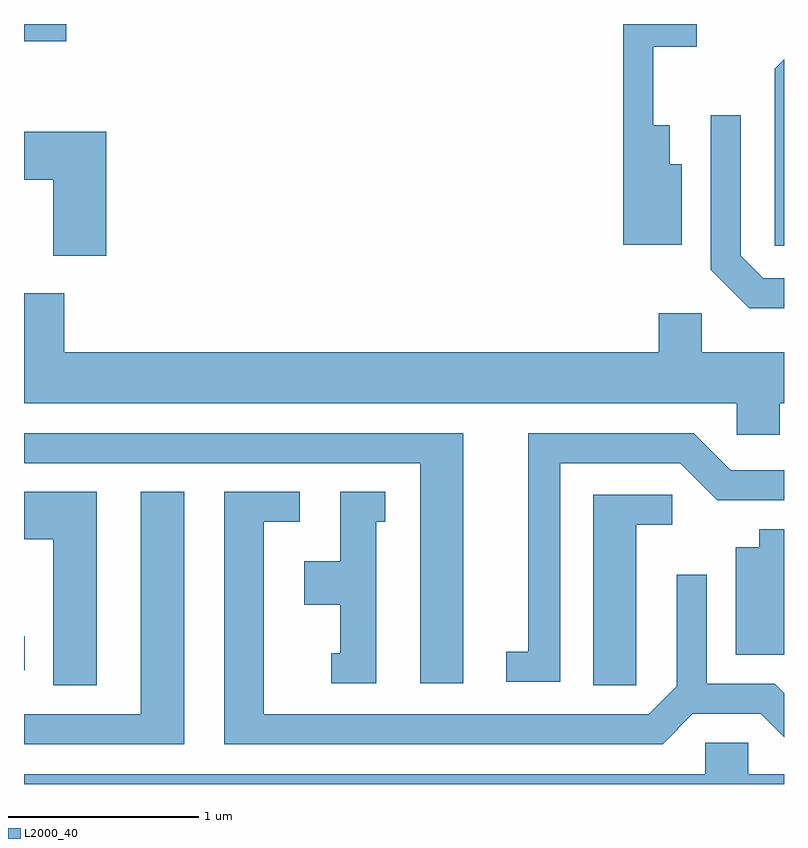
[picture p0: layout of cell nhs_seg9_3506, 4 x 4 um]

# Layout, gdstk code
import gdstk
lib = gdstk.Library(unit=1e-6, precision=1e-09)
def R(c, l, rs):  # rectangles x0, y0, x1, y1
    for r in rs: c.add(gdstk.rectangle(r[:2], r[2:], *l))
def P(c, l, *ps):  # polygons
    for p in ps: c.add(gdstk.Polygon(p, *l))
L2000_40 = (2000, 40)

nhs_seg9_3506 = lib.new_cell('nhs_seg9_3506')
R(nhs_seg9_3506, L2000_40, [(287.611,2037.031,287.614,2037.209), (287.611,2040.341,287.833,2040.432)])
P(nhs_seg9_3506, L2000_40, [(291.074,2039.694),(291.009,2039.694),(291.009,2039.899),(290.924,2039.899),(290.924,2040.311),(291.153,2040.311),(291.153,2040.432),(290.766,2040.432),(290.766,2039.271),(291.074,2039.271)],
  [(291.611,2040.247),(291.561,2040.197),(291.561,2039.266),(291.611,2039.266)],
  [(291.611,2039.094),(291.502,2039.094),(291.384,2039.212),(291.384,2039.953),(291.226,2039.953),(291.226,2039.139),(291.429,2038.936),(291.611,2038.936)],
  [(288.044,2039.864),(287.611,2039.864),(287.611,2039.611),(287.766,2039.611),(287.766,2039.211),(288.044,2039.211)],
  [(291.589,2038.436),(291.611,2038.436),(291.611,2038.704),(291.179,2038.704),(291.179,2038.909),(290.951,2038.909),(290.951,2038.704),(287.824,2038.704),(287.824,2039.014),(287.611,2039.014),(287.611,2038.436),(291.361,2038.436),(291.361,2038.271),(291.589,2038.271)],
  [(290.434,2038.121),(291.064,2038.121),(291.259,2037.926),(291.611,2037.926),(291.611,2038.084),(291.332,2038.084),(291.137,2038.279),(290.266,2038.279),(290.266,2037.129),(290.148,2037.129),(290.148,2036.971),(290.434,2036.971)],
  [(289.924,2038.279),(287.611,2038.279),(287.611,2038.121),(289.696,2038.121),(289.696,2036.961),(289.924,2036.961)],
  [(288.454,2037.969),(288.226,2037.969),(288.226,2036.799),(287.611,2036.799),(287.611,2036.641),(288.454,2036.641)],
  [(289.464,2037.811),(289.513,2037.811),(289.513,2037.969),(289.276,2037.969),(289.276,2037.604),(289.086,2037.604),(289.086,2037.376),(289.276,2037.376),(289.276,2037.119),(289.228,2037.119),(289.228,2036.961),(289.464,2036.961)],
  [(291.132,2036.801),(291.489,2036.801),(291.611,2036.679),(291.611,2036.91),(291.562,2036.959),(291.204,2036.959),(291.204,2037.533),(291.046,2037.533),(291.046,2036.947),(290.899,2036.799),(288.874,2036.799),(288.874,2037.811),(289.063,2037.811),(289.063,2037.969),(288.666,2037.969),(288.666,2036.641),(290.972,2036.641)],
  [(287.994,2037.969),(287.611,2037.969),(287.611,2037.721),(287.766,2037.721),(287.766,2036.951),(287.994,2036.951)],
  [(290.834,2037.796),(291.023,2037.796),(291.023,2037.954),(290.606,2037.954),(290.606,2036.951),(290.834,2036.951)],
  [(291.611,2037.774),(291.481,2037.774),(291.481,2037.679),(291.356,2037.679),(291.356,2037.111),(291.611,2037.111)],
  [(291.611,2036.484),(291.424,2036.484),(291.424,2036.649),(291.196,2036.649),(291.196,2036.484),(287.611,2036.484),(287.611,2036.432),(291.611,2036.432)])

lib.write_gds('nhs_seg9_3506.gds')
